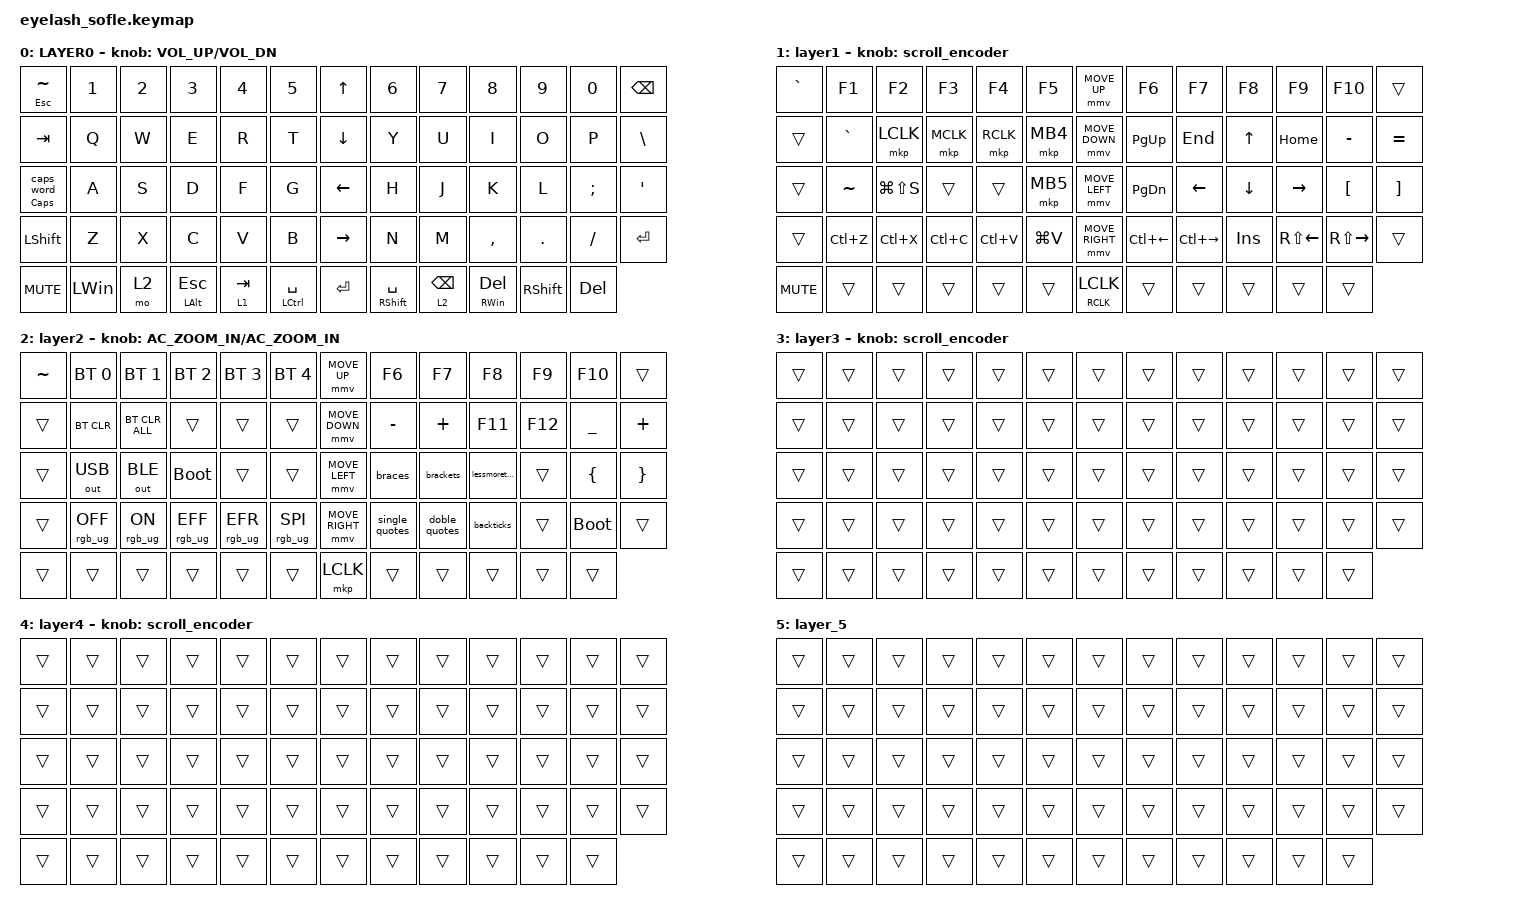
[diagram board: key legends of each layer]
#define ZMK_POINTING_DEFAULT_MOVE_VAL 1200  // 600
#define ZMK_POINTING_DEFAULT_SCRL_VAL 25   // 10

#include <input/processors.dtsi>
#include <zephyr/dt-bindings/input/input-event-codes.h>
#include <behaviors.dtsi>
#include <dt-bindings/zmk/bt.h>
#include <dt-bindings/zmk/keys.h>
#include <dt-bindings/zmk/outputs.h>
#include <dt-bindings/zmk/pointing.h>
#include <dt-bindings/zmk/rgb.h>

&mmv_input_listener { input-processors = <&zip_xy_scaler 2 1>; };

&msc_input_listener { input-processors = <&zip_scroll_scaler 2 1>; };

&msc {
    acceleration-exponent = <1>;      // 0
    time-to-max-speed-ms = <100>;       // 300
    delay-ms = <0>;                   // 0
};

&mmv {
    time-to-max-speed-ms = <500>;
    acceleration-exponent = <1>;
    trigger-period-ms = <16>;
};

&soft_off { hold-time-ms = <2000>; };

/ {
    scroll_encoder: scroll_encoder {
        compatible = "zmk,behavior-sensor-rotate";
        #sensor-binding-cells = <0>;
        bindings = <&msc SCRL_DOWN>, <&msc SCRL_UP>;

        tap-ms = <100>;
    };

    mouse_clicker: mouse_clicker {
        compatible = "zmk,behavior-hold-tap";
        label = "M_CLK";
        bindings = <&mkp>, <&mkp>;

        #binding-cells = <2>;
        flavor = "tap-preferred";
        tapping-term-ms = <200>;
    };

    smart_shift: smart_shift {
        compatible = "zmk,behavior-hold-tap";
        label = "SMART_SHIFT";
        bindings = <&kp>, <&caps_word>;

        #binding-cells = <2>;
        tapping-term-ms = <200>;
    };

    behaviors {
    };

    combos {
        compatible = "zmk,combos";

        softoff {
            bindings = <&soft_off>;
            key-positions = <14 28 40>;
        };

        enter {
            bindings = <&kp RETURN>;
            key-positions = <57 59>;
        };
    };

    macros {
        braces: braces {
            compatible = "zmk,behavior-macro";
            #binding-cells = <0>;
            bindings = <&kp LEFT_BRACE &kp RIGHT_BRACE &kp LEFT_ARROW>;
            label = "BRACES";
        };

        brackets: brackets {
            compatible = "zmk,behavior-macro";
            #binding-cells = <0>;
            bindings = <&kp LEFT_BRACKET &kp RIGHT_BRACKET &kp LEFT_ARROW>;
            label = "BRACKETS";
        };

        lessmorethan: new_macro {
            compatible = "zmk,behavior-macro";
            #binding-cells = <0>;
            bindings = <&kp LT &kp GT &kp LEFT>;
            label = "NEW_MACRO";
        };

        single_quotes: single_quotes {
            compatible = "zmk,behavior-macro";
            #binding-cells = <0>;
            bindings = <&kp SINGLE_QUOTE &kp SINGLE_QUOTE &kp LEFT_ARROW>;
            label = "SINGLE_QUOTES";
        };

        doble_quotes: doble_quotes {
            compatible = "zmk,behavior-macro";
            #binding-cells = <0>;
            bindings = <&kp DOUBLE_QUOTES &kp DOUBLE_QUOTES &kp LEFT>;
            label = "DOBLE_QUOTES";
        };

        backticks: backticks {
            compatible = "zmk,behavior-macro";
            #binding-cells = <0>;
            bindings = <&kp GRAVE &kp GRAVE &kp LEFT_ARROW>;
            label = "BACKTICKS";
        };
    };

    keymap {
        compatible = "zmk,keymap";

        layer0 {
            bindings = <
&mt ESC TILDE        &kp N1        &kp N2  &kp N3               &kp N4     &kp N5                    &kp UP_ARROW     &kp N6                 &kp N7           &kp N8                &kp N9           &kp N0      &kp BACKSPACE
&kp TAB              &kp Q         &kp W   &kp E                &kp R      &kp T                     &kp DOWN_ARROW   &kp Y                  &kp U            &kp I                 &kp O            &kp P       &kp BSLH
&smart_shift CAPS 0  &kp A         &kp S   &kp D                &kp F      &kp G                     &kp LEFT_ARROW   &kp H                  &kp J            &kp K                 &kp L            &kp SEMI    &kp APOS
&kp LSHFT            &kp Z         &kp X   &kp C                &kp V      &kp B                     &kp RIGHT_ARROW  &kp N                  &kp M            &kp COMMA             &kp DOT          &kp FSLH    &kp ENTER
&kp C_MUTE           &kp LEFT_WIN  &mo 2   &mt LEFT_ALT ESCAPE  &lt 1 TAB  &mt LEFT_CONTROL SPACE    &kp ENTER        &mt RIGHT_SHIFT SPACE  &lt 2 BACKSPACE  &mt RIGHT_WIN DELETE  &kp RIGHT_SHIFT  &kp DELETE
            >;

            sensor-bindings = <&inc_dec_kp C_VOLUME_UP C_VOL_DN>;
            display-name = "LAYER0";
        };

        layer_1 {
            bindings = <
&kp GRAVE   &kp F1     &kp F2         &kp F3     &kp F4     &kp F5       &mmv MOVE_UP              &kp F6        &kp F7         &kp F8      &kp F9        &kp F10           &trans
&trans      &kp GRAVE  &mkp LCLK      &mkp MCLK  &mkp RCLK  &mkp MB4     &mmv MOVE_DOWN            &kp PG_UP     &kp END        &kp UP      &kp HOME      &kp MINUS         &kp EQUAL
&trans      &kp TILDE  &kp LG(LS(S))  &trans     &trans     &mkp MB5     &mmv MOVE_LEFT            &kp PG_DN     &kp LEFT       &kp DOWN    &kp RIGHT     &kp LEFT_BRACKET  &kp RIGHT_BRACKET
&trans      &kp LC(Z)  &kp LC(X)      &kp LC(C)  &kp LC(V)  &kp LG(V)    &mmv MOVE_RIGHT           &kp LC(LEFT)  &kp LC(RIGHT)  &kp INSERT  &kp RS(LEFT)  &kp RS(RIGHT)     &trans
&kp C_MUTE  &trans     &trans         &trans     &trans     &trans       &mouse_clicker RCLK LCLK  &trans        &trans         &trans      &trans        &trans
            >;

            display-name = "layer1";
            sensor-bindings = <&scroll_encoder>;
        };

        layer_2 {
            bindings = <
&kp TILDE  &bt BT_SEL 0     &bt BT_SEL 1    &bt BT_SEL 2     &bt BT_SEL 3     &bt BT_SEL 4       &mmv MOVE_UP     &kp F6          &kp F7         &kp F8         &kp F9   &kp F10      &trans
&trans     &bt BT_CLR       &bt BT_CLR_ALL  &trans           &trans           &trans             &mmv MOVE_DOWN   &kp MINUS       &kp PLUS       &kp F11        &kp F12  &kp UNDER    &kp PLUS
&trans     &out OUT_USB     &out OUT_BLE    &bootloader      &trans           &trans             &mmv MOVE_LEFT   &braces         &brackets      &lessmorethan  &trans   &kp LBRC     &kp RBRC
&trans     &rgb_ug RGB_OFF  &rgb_ug RGB_ON  &rgb_ug RGB_EFF  &rgb_ug RGB_EFR  &rgb_ug RGB_SPI    &mmv MOVE_RIGHT  &single_quotes  &doble_quotes  &backticks     &trans   &bootloader  &trans
&trans     &trans           &trans          &trans           &trans           &trans             &mkp LCLK        &trans          &trans         &trans         &trans   &trans
            >;

            display-name = "layer2";
            sensor-bindings = <&inc_dec_kp C_AC_ZOOM_IN C_AC_ZOOM_IN>;
        };

        layer_3 {
            bindings = <
&trans  &trans  &trans  &trans  &trans  &trans    &trans  &trans  &trans  &trans  &trans  &trans  &trans
&trans  &trans  &trans  &trans  &trans  &trans    &trans  &trans  &trans  &trans  &trans  &trans  &trans
&trans  &trans  &trans  &trans  &trans  &trans    &trans  &trans  &trans  &trans  &trans  &trans  &trans
&trans  &trans  &trans  &trans  &trans  &trans    &trans  &trans  &trans  &trans  &trans  &trans  &trans
&trans  &trans  &trans  &trans  &trans  &trans    &trans  &trans  &trans  &trans  &trans  &trans
            >;

            display-name = "layer3";
            sensor-bindings = <&scroll_encoder>;
        };

        layer_4 {
            bindings = <
&trans  &trans  &trans  &trans  &trans  &trans    &trans  &trans  &trans  &trans  &trans  &trans  &trans
&trans  &trans  &trans  &trans  &trans  &trans    &trans  &trans  &trans  &trans  &trans  &trans  &trans
&trans  &trans  &trans  &trans  &trans  &trans    &trans  &trans  &trans  &trans  &trans  &trans  &trans
&trans  &trans  &trans  &trans  &trans  &trans    &trans  &trans  &trans  &trans  &trans  &trans  &trans
&trans  &trans  &trans  &trans  &trans  &trans    &trans  &trans  &trans  &trans  &trans  &trans
            >;

            display-name = "layer4";
            sensor-bindings = <&scroll_encoder>;
        };

        layer_5 {
            bindings = <
&trans  &trans  &trans  &trans  &trans  &trans    &trans  &trans  &trans  &trans  &trans  &trans  &trans
&trans  &trans  &trans  &trans  &trans  &trans    &trans  &trans  &trans  &trans  &trans  &trans  &trans
&trans  &trans  &trans  &trans  &trans  &trans    &trans  &trans  &trans  &trans  &trans  &trans  &trans
&trans  &trans  &trans  &trans  &trans  &trans    &trans  &trans  &trans  &trans  &trans  &trans  &trans
&trans  &trans  &trans  &trans  &trans  &trans    &trans  &trans  &trans  &trans  &trans  &trans
            >;
        };
    };
};
